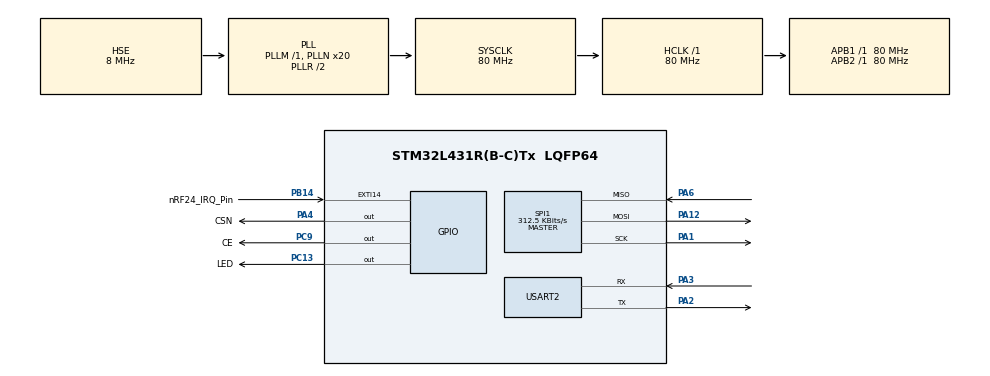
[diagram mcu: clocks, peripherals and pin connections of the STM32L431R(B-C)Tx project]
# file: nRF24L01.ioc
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Mcu.Family=STM32L4
PB14.GPIO_ModeDefaultEXTI=GPIO_MODE_IT_FALLING
RCC.MSI_VALUE=4000000
RCC.PLLSourceVirtual=RCC_PLLSOURCE_HSE
PA14\ (JTCK-SWCLK).Mode=Serial_Wire
PA6.Mode=Full_Duplex_Master
RCC.CortexFreq_Value=80000000
SPI1.VirtualType=VM_MASTER
PC9.GPIO_Label=CE
PH0-OSC_IN\ (PH0).Signal=RCC_OSC_IN
PC13.Signal=GPIO_Output
PB14.GPIO_Label=nRF24_IRQ_Pin
PC9.PinState=GPIO_PIN_RESET
PC13.GPIO_Label=LED
RCC.SYSCLKSource=RCC_SYSCLKSOURCE_PLLCLK
ProjectManager.StackSize=0x400
PA14\ (JTCK-SWCLK).Signal=SYS_JTCK-SWCLK
PA3.Mode=Asynchronous
PA12.Signal=SPI1_MOSI
PA4.PinState=GPIO_PIN_SET
ProjectManager.TargetToolchain=STM32CubeIDE
SPI1.Direction=SPI_DIRECTION_2LINES
RCC.HCLKFreq_Value=80000000
RCC.APB2TimFreq_Value=80000000
SPI1.CalculateBaudRate=312.5 KBits/s
RCC.LSE_VALUE=32768
PA1.Signal=SPI1_SCK
RCC.AHBFreq_Value=80000000
PB14.Signal=GPXTI14
RCC.HSE_VALUE=8000000
PA4.GPIO_PuPd=GPIO_PULLUP
board=custom
USART2.VirtualMode-Asynchronous=VM_ASYNC
RCC.VCOOutputFreq_Value=160000000
PA4.GPIO_Speed=GPIO_SPEED_FREQ_HIGH
RCC.APB2Freq_Value=80000000
PA1.Mode=Full_Duplex_Master
SPI1.Mode=SPI_MODE_MASTER
RCC.ADCFreq_Value=32000000
SPI1.DataSize=SPI_DATASIZE_8BIT
PC13.GPIO_PuPd=GPIO_PULLDOWN
Mcu.Name=STM32L431R(B-C)Tx
PA2.Signal=USART2_TX
PA13\ (JTMS-SWDIO).Mode=Serial_Wire
PA4.Signal=GPIO_Output
RCC.SYSCLKFreq_VALUE=80000000
Mcu.Package=LQFP64
PA6.Signal=SPI1_MISO
PA12.Mode=Full_Duplex_Master
ProjectManager.HeapSize=0x200
RCC.HSI_VALUE=16000000
NVIC.PriorityGroup=NVIC_PRIORITYGROUP_4
RCC.PLLN=20
RCC.APB1TimFreq_Value=80000000
PA2.Mode=Asynchronous
PC9.Signal=GPIO_Output
PA13\ (JTMS-SWDIO).Signal=SYS_JTMS-SWDIO
RCC.APB1Freq_Value=80000000
SPI1.BaudRatePrescaler=SPI_BAUDRATEPRESCALER_256
PH0-OSC_IN\ (PH0).Mode=HSE-External-Clock-Source
PA4.GPIO_Label=CSN
RCC.HSI48_VALUE=48000000
PA3.Signal=USART2_RX

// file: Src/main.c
/* USER CODE BEGIN Header */
/**
  ******************************************************************************
  * @file           : main.c
  * @brief          : Main program body
  ******************************************************************************
  * @attention
  *
  * <h2><center>&copy; Copyright (c) 2020 STMicroelectronics.
  * All rights reserved.</center></h2>
  *
  * This software component is licensed by ST under BSD 3-Clause license,
  * the "License"; You may not use this file except in compliance with the
  * License. You may obtain a copy of the License at:
  *                        opensource.org/licenses/BSD-3-Clause
  *
  ******************************************************************************
  */
/* USER CODE END Header */

#include "main.h"

/* USER CODE BEGIN Includes */
#include "tos_k.h"
/* USER CODE END Includes */

/* USER CODE BEGIN PD */
#define TASK_SIZE 1024

k_task_t task2_handle;

uint8_t task2_stk[TASK_SIZE];

void task2(void *arg)
{
    int task_cnt2 = 0;

    while (1) {
    	task_cnt2--;
        printf("task2 cnt: %08x\n", task_cnt2);
        tos_task_delay(200);
    }
}
/* USER CODE END PD */

SPI_HandleTypeDef hspi1;

UART_HandleTypeDef huart2;

void SystemClock_Config(void);
static void MX_GPIO_Init(void);
static void MX_USART2_UART_Init(void);
static void MX_SPI1_Init(void);

/* USER CODE BEGIN 0 */
#include <stdio.h>
#ifdef __GNUC__
	#define PUTCHAR_PROTOTYPE int __io_putchar(int ch)
#else
	#define PUTCHAR_PROTOTYPE int fputc(int ch, FILE *f)
#endif
PUTCHAR_PROTOTYPE
{
	HAL_UART_Transmit(&huart2, (uint8_t *)&ch, 1, 0xFFFF);
	return ch;
}

void nrf24l01_init();
/* USER CODE END 0 */

int main(void)
{

  /* MCU Configuration--------------------------------------------------------*/

  /* Reset of all peripherals, Initializes the Flash interface and the Systick. */
  HAL_Init();

  /* Configure the system clock */
  SystemClock_Config();

  /* Initialize all configured peripherals */
  MX_GPIO_Init();
  MX_USART2_UART_Init();
  MX_SPI1_Init();
  /* USER CODE BEGIN 2 */

  tos_knl_init();

  nrf24l01_init();

  tos_task_create(&task2_handle, "task2", task2,      NULL, 3, task2_stk, TASK_SIZE, 0);

  tos_knl_start();

  /* USER CODE END 2 */

  /* Infinite loop */
  /* USER CODE BEGIN WHILE */
  while (1)
  {
	  //HAL_Delay(1000);
    /* USER CODE END WHILE */

  }
}

void SystemClock_Config(void)
{
  RCC_OscInitTypeDef RCC_OscInitStruct = {0};
  RCC_ClkInitTypeDef RCC_ClkInitStruct = {0};
  RCC_PeriphCLKInitTypeDef PeriphClkInit = {0};

  /** Initializes the CPU, AHB and APB busses clocks
  */
  RCC_OscInitStruct.OscillatorType = RCC_OSCILLATORTYPE_HSE;
  RCC_OscInitStruct.HSEState = RCC_HSE_BYPASS;
  RCC_OscInitStruct.PLL.PLLState = RCC_PLL_ON;
  RCC_OscInitStruct.PLL.PLLSource = RCC_PLLSOURCE_HSE;
  RCC_OscInitStruct.PLL.PLLM = 1;
  RCC_OscInitStruct.PLL.PLLN = 20;
  RCC_OscInitStruct.PLL.PLLP = RCC_PLLP_DIV7;
  RCC_OscInitStruct.PLL.PLLQ = RCC_PLLQ_DIV2;
  RCC_OscInitStruct.PLL.PLLR = RCC_PLLR_DIV2;
  if (HAL_RCC_OscConfig(&RCC_OscInitStruct) != HAL_OK)
  {
    Error_Handler();
  }
  /** Initializes the CPU, AHB and APB busses clocks
  */
  RCC_ClkInitStruct.ClockType = RCC_CLOCKTYPE_HCLK|RCC_CLOCKTYPE_SYSCLK
                              |RCC_CLOCKTYPE_PCLK1|RCC_CLOCKTYPE_PCLK2;
  RCC_ClkInitStruct.SYSCLKSource = RCC_SYSCLKSOURCE_PLLCLK;
  RCC_ClkInitStruct.AHBCLKDivider = RCC_SYSCLK_DIV1;
  RCC_ClkInitStruct.APB1CLKDivider = RCC_HCLK_DIV1;
  RCC_ClkInitStruct.APB2CLKDivider = RCC_HCLK_DIV1;

  if (HAL_RCC_ClockConfig(&RCC_ClkInitStruct, FLASH_LATENCY_4) != HAL_OK)
  {
    Error_Handler();
  }
  PeriphClkInit.PeriphClockSelection = RCC_PERIPHCLK_USART2;
  PeriphClkInit.Usart2ClockSelection = RCC_USART2CLKSOURCE_PCLK1;
  if (HAL_RCCEx_PeriphCLKConfig(&PeriphClkInit) != HAL_OK)
  {
    Error_Handler();
  }
  /** Configure the main internal regulator output voltage
  */
  if (HAL_PWREx_ControlVoltageScaling(PWR_REGULATOR_VOLTAGE_SCALE1) != HAL_OK)
  {
    Error_Handler();
  }
}

static void MX_SPI1_Init(void)
{

  /* SPI1 parameter configuration*/
  hspi1.Instance = SPI1;
  hspi1.Init.Mode = SPI_MODE_MASTER;
  hspi1.Init.Direction = SPI_DIRECTION_2LINES;
  hspi1.Init.DataSize = SPI_DATASIZE_8BIT;
  hspi1.Init.CLKPolarity = SPI_POLARITY_LOW;
  hspi1.Init.CLKPhase = SPI_PHASE_1EDGE;
  hspi1.Init.NSS = SPI_NSS_SOFT;
  hspi1.Init.BaudRatePrescaler = SPI_BAUDRATEPRESCALER_256;
  hspi1.Init.FirstBit = SPI_FIRSTBIT_MSB;
  hspi1.Init.TIMode = SPI_TIMODE_DISABLE;
  hspi1.Init.CRCCalculation = SPI_CRCCALCULATION_DISABLE;
  hspi1.Init.CRCPolynomial = 7;
  hspi1.Init.CRCLength = SPI_CRC_LENGTH_DATASIZE;
  hspi1.Init.NSSPMode = SPI_NSS_PULSE_ENABLE;
  if (HAL_SPI_Init(&hspi1) != HAL_OK)
  {
    Error_Handler();
  }

}

static void MX_USART2_UART_Init(void)
{

  huart2.Instance = USART2;
  huart2.Init.BaudRate = 115200;
  huart2.Init.WordLength = UART_WORDLENGTH_8B;
  huart2.Init.StopBits = UART_STOPBITS_1;
  huart2.Init.Parity = UART_PARITY_NONE;
  huart2.Init.Mode = UART_MODE_TX_RX;
  huart2.Init.HwFlowCtl = UART_HWCONTROL_NONE;
  huart2.Init.OverSampling = UART_OVERSAMPLING_16;
  huart2.Init.OneBitSampling = UART_ONE_BIT_SAMPLE_DISABLE;
  huart2.AdvancedInit.AdvFeatureInit = UART_ADVFEATURE_NO_INIT;
  if (HAL_UART_Init(&huart2) != HAL_OK)
  {
    Error_Handler();
  }

}

static void MX_GPIO_Init(void)
{
  GPIO_InitTypeDef GPIO_InitStruct = {0};

  /* GPIO Ports Clock Enable */
  __HAL_RCC_GPIOC_CLK_ENABLE();
  __HAL_RCC_GPIOH_CLK_ENABLE();
  __HAL_RCC_GPIOA_CLK_ENABLE();

  /*Configure GPIO pin Output Level */
  HAL_GPIO_WritePin(GPIOC, LED_Pin|CE_Pin, GPIO_PIN_RESET);

  /*Configure GPIO pin Output Level */
  HAL_GPIO_WritePin(CSN_GPIO_Port, CSN_Pin, GPIO_PIN_SET);

  /*Configure GPIO pin : LED_Pin */
  GPIO_InitStruct.Pin = LED_Pin;
  GPIO_InitStruct.Mode = GPIO_MODE_OUTPUT_PP;
  GPIO_InitStruct.Pull = GPIO_PULLDOWN;
  GPIO_InitStruct.Speed = GPIO_SPEED_FREQ_LOW;
  HAL_GPIO_Init(LED_GPIO_Port, &GPIO_InitStruct);

  /*Configure GPIO pin : CSN_Pin */
  GPIO_InitStruct.Pin = CSN_Pin;
  GPIO_InitStruct.Mode = GPIO_MODE_OUTPUT_PP;
  GPIO_InitStruct.Pull = GPIO_PULLUP;
  GPIO_InitStruct.Speed = GPIO_SPEED_FREQ_HIGH;
  HAL_GPIO_Init(CSN_GPIO_Port, &GPIO_InitStruct);

  /*Configure GPIO pin : CE_Pin */
  GPIO_InitStruct.Pin = CE_Pin;
  GPIO_InitStruct.Mode = GPIO_MODE_OUTPUT_PP;
  GPIO_InitStruct.Pull = GPIO_NOPULL;
  GPIO_InitStruct.Speed = GPIO_SPEED_FREQ_LOW;
  HAL_GPIO_Init(CE_GPIO_Port, &GPIO_InitStruct);

  /*Configure GPIO pin : nRF24_IRQ_Pin_Pin */
  GPIO_InitStruct.Pin = nRF24_IRQ_Pin_Pin;
  GPIO_InitStruct.Mode = GPIO_MODE_IT_FALLING;
  GPIO_InitStruct.Pull = GPIO_PULLUP;
  HAL_GPIO_Init(nRF24_IRQ_Pin_GPIO_Port, &GPIO_InitStruct);

  /* EXTI interrupt init*/
  HAL_NVIC_SetPriority(EXTI9_5_IRQn, 0, 0);
  HAL_NVIC_EnableIRQ(EXTI9_5_IRQn);

}

void Error_Handler(void)
{
}

/************************ (C) COPYRIGHT STMicroelectronics *****END OF FILE****/
